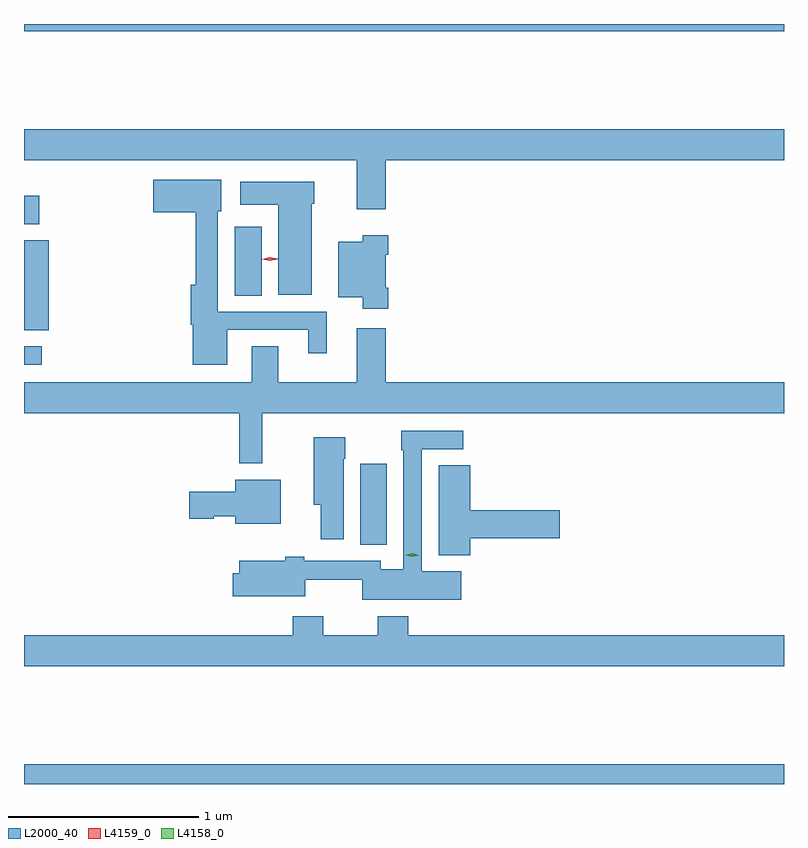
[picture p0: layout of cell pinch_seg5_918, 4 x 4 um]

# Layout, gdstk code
import gdstk
lib = gdstk.Library(unit=1e-6, precision=1e-09)
def R(c, l, rs):  # rectangles x0, y0, x1, y1
    for r in rs: c.add(gdstk.rectangle(r[:2], r[2:], *l))
def P(c, l, *ps):  # polygons
    for p in ps: c.add(gdstk.Polygon(p, *l))
L2000_40 = (2000, 40)
L4158_0 = (4158, 0)
L4159_0 = (4159, 0)

pinch_seg5_918 = lib.new_cell('pinch_seg5_918')
R(pinch_seg5_918, L2000_40, [(657.973,901.429,661.973,901.532), (659.744,902.689,659.881,903.115), (657.973,903.636,658.066,903.732), (657.973,903.817,658.102,904.291), (659.081,904,659.224,904.363), (657.973,904.376,658.054,904.525), (657.973,905.392,661.973,905.429)])
P(pinch_seg5_918, L2000_40, [(659.876,904.712),(661.973,904.712),(661.973,904.876),(657.973,904.876),(657.973,904.712),(659.723,904.712),(659.723,904.455),(659.876,904.455)],
  [(659.044,903.819),(659.468,903.819),(659.468,903.696),(659.566,903.696),(659.566,903.915),(658.992,903.915),(658.992,904.443),(659.011,904.443),(659.011,904.609),(658.653,904.609),(658.653,904.439),(658.876,904.439),(658.876,904.057),(658.85,904.057),(658.85,903.846),(658.862,903.846),(658.862,903.635),(659.044,903.635)],
  [(659.488,904.482),(659.5,904.482),(659.5,904.6),(659.112,904.6),(659.112,904.478),(659.312,904.478),(659.312,904.004),(659.488,904.004)],
  [(659.891,904.042),(659.878,904.042),(659.878,904.214),(659.891,904.214),(659.891,904.318),(659.756,904.318),(659.756,904.282),(659.627,904.282),(659.627,903.992),(659.756,903.992),(659.756,903.93),(659.891,903.93)],
  [(659.228,903.38),(661.973,903.38),(661.973,903.544),(659.876,903.544),(659.876,903.829),(659.723,903.829),(659.723,903.544),(659.311,903.544),(659.311,903.734),(659.171,903.734),(659.171,903.544),(657.973,903.544),(657.973,903.38),(659.107,903.38),(659.107,903.117),(659.228,903.117)],
  [(660.274,902.548),(660.066,902.548),(660.066,903.192),(660.286,903.192),(660.286,903.288),(659.958,903.288),(659.958,903.185),(659.97,903.185),(659.97,902.56),(659.85,902.56),(659.85,902.604),(659.448,902.604),(659.448,902.624),(659.348,902.624),(659.348,902.605),(659.105,902.605),(659.105,902.539),(659.072,902.539),(659.072,902.417),(659.452,902.417),(659.452,902.503),(659.754,902.503),(659.754,902.399),(660.274,902.399)],
  [(659.656,903.14),(659.664,903.14),(659.664,903.253),(659.498,903.253),(659.498,902.9),(659.534,902.9),(659.534,902.718),(659.656,902.718)],
  [(660.322,902.723),(660.793,902.723),(660.793,902.87),(660.322,902.87),(660.322,903.107),(660.155,903.107),(660.155,902.633),(660.322,902.633)],
  [(659.323,903.031),(659.084,903.031),(659.084,902.967),(658.842,902.967),(658.842,902.825),(658.971,902.825),(658.971,902.837),(659.084,902.837),(659.084,902.798),(659.323,902.798)],
  [(661.973,902.212),(659.996,902.212),(659.996,902.311),(659.836,902.311),(659.836,902.212),(659.547,902.212),(659.547,902.311),(659.387,902.311),(659.387,902.212),(657.973,902.212),(657.973,902.048),(661.973,902.048)])
P(pinch_seg5_918, L4158_0, [(660.017,902.624),(659.983,902.634),(659.983,902.634),(659.983,902.634),(660.017,902.644),(660.052,902.634),(660.052,902.634),(660.052,902.634)])
P(pinch_seg5_918, L4159_0, [(659.267,904.182),(659.227,904.192),(659.226,904.192),(659.227,904.192),(659.267,904.202),(659.308,904.193),(659.308,904.193),(659.308,904.192)])

lib.write_gds('pinch_seg5_918.gds')
